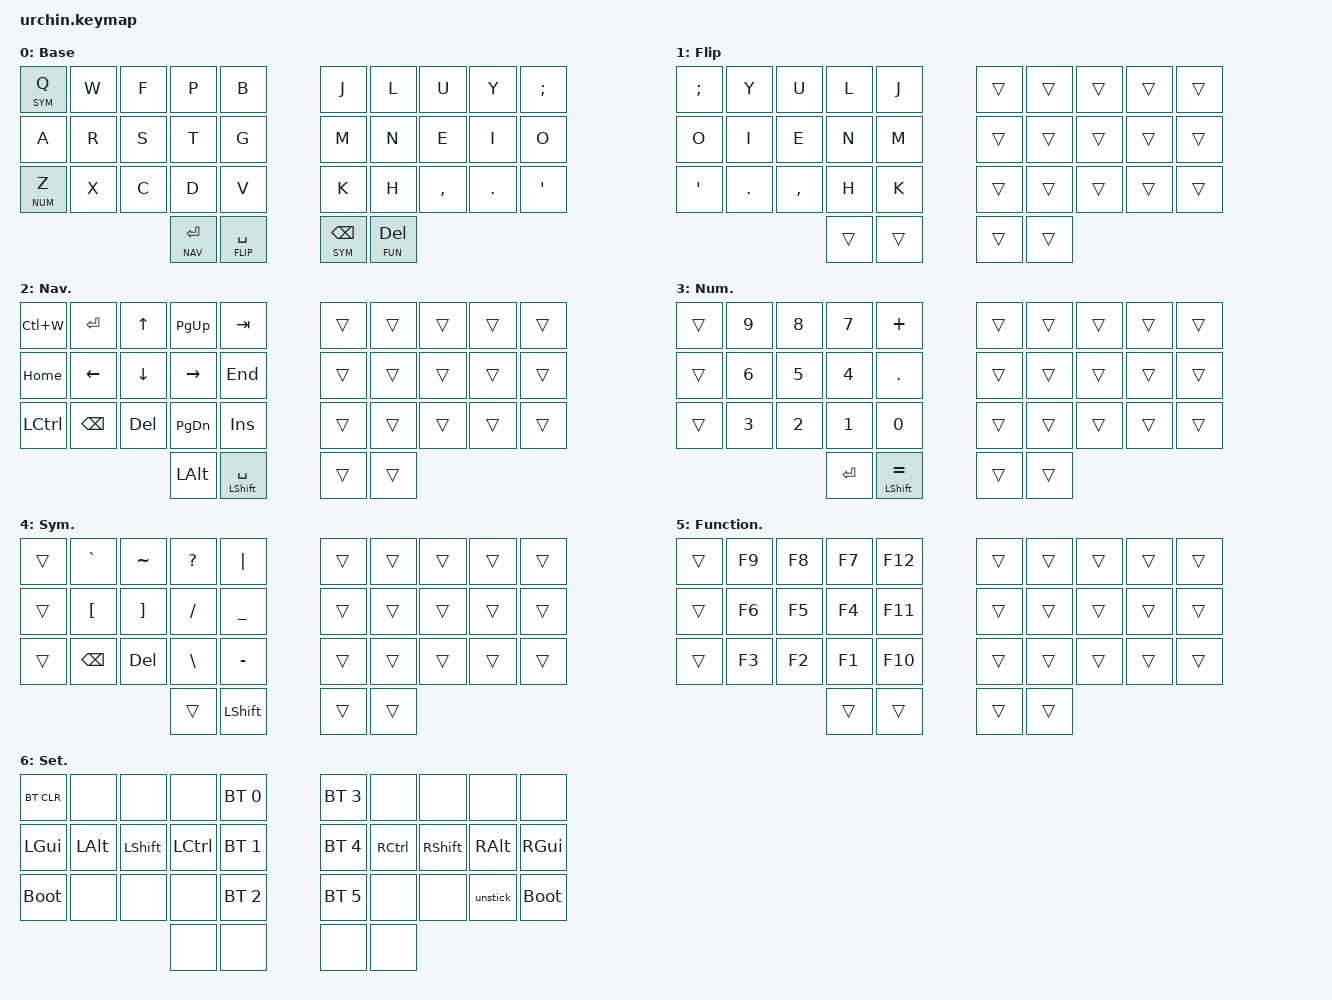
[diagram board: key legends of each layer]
/*
 * Copyright (c) 2020 duckyb
 *
 * SPDX-License-Identifier: MIT
 * 24-12-06 JHS 
 *     - Tab to space
 *     - updating to "Urchin Layout.xlsx"
 */

#include <behaviors.dtsi>
#include <dt-bindings/zmk/keys.h>
#include <dt-bindings/zmk/bt.h>
#include <dt-bindings/zmk/outputs.h>

// Layer definitions
#define BASE 0
#define FLIP 1
#define NAV 2
#define NUM 3
#define SYM 4 
#define FUN 5
#define SET 6
// -----------------

&sk {
    // don't release mods on other mods presses
    ignore-modifiers;
};


/ {
    behaviors {
        // Enables holding the first mod-tap key
        // by performing a tap-release-hold sequence.
        // To use it: "&qt KEYCODE1 KEYCODE2"
        qt: quick_tap {
            compatible = "zmk,behavior-hold-tap";
            label = "QUICK_TAP";
            #binding-cells = <2>;
            flavor = "hold-preferred";
            tapping-term-ms = <200>;
            quick-tap-ms = <200>;
            bindings = <&kp>, <&kp>;
        };
		
		// Balanced homerow mods example from zmk.dev
        bhm: balanced_homerow_mods {
            compatible = "zmk,behavior-hold-tap";
            #binding-cells = <2>;
            tapping-term-ms = <200>;    // <---[[moderate duration]]
            quick-tap-ms = <0>;
            flavor = "balanced";
            bindings = <&kp>, <&kp>;
        };
    };

    macros {
        // sometimes my device thinks a modifier is being held down
        // pressing all modifiers fixes it.
        unstick: unstick {
            label = "ZM_unstick";
            compatible = "zmk,behavior-macro";
            #binding-cells = <0>;
            bindings = <&kp LSHIFT &kp RSHIFT &kp LCTRL &kp RCTRL &kp LALT &kp RALT &kp LGUI &kp RGUI>;
        };
    };

    combos {
        compatible = "zmk,combos";
		// nav up-left-right
		combo_nav {
            timeout-ms = <100>;
            key-positions = <2 11 13>;
            bindings = <&tog NAV>;
        };	
		// function top row
		combo_fun {
            timeout-ms = <100>;
            key-positions = <1 3 12>;
            bindings = <&sl FUN>;
        };	
        // both right thumb keys
        combo_accent {
            timeout-ms = <100>;
            key-positions = <32 33>;
            bindings = <&mo SET>;
        };
        // both left thumb keys
        combo_settings {
            timeout-ms = <100>;
            key-positions = <30 31>;
            bindings = <&mo SET>;
        };	
		// escape
        combo_esc {
            timeout-ms = <100>;
            key-positions = <2 1>;
            bindings = <&kp ESC>;
        };
		// capsword
        combo_capsword {
            timeout-ms = <200>;
            key-positions = <12 17>;
            bindings = <&caps_word>;
        };
        combo_capsword2 {
            timeout-ms = <200>;
            key-positions = <11 12 14>;
            bindings = <&caps_word>;
        };
		// tab
        combo_tab {
            timeout-ms = <100>;
            key-positions = <2 3>;
            bindings = <&kp TAB>;
        };
		// backspace
        combo_bkp {
            timeout-ms = <100>;
            key-positions = <22 21>;
            bindings = <&kp BSPC>;
        };
        // TRIPLE combo mods
		// 1110 - CONTROL
		// 0111 - SHIFT
		// 1101 - ALT
		// 1111 - GUI
        combo_lctrl {
            timeout-ms = <100>;
            key-positions = <10 11 12>;
            bindings = <&sk LCTRL>;
        };
        combo_rctrl {
            timeout-ms = <100>;
            key-positions = <17 18 19>;
            bindings = <&sk RCTRL>;
        };
        combo_lshft {
            timeout-ms = <100>;
            key-positions = <11 12 13>;
            bindings = <&sk LSHFT>;
        };
        combo_rshft {
            timeout-ms = <100>;
            key-positions = <16 17 18>;
            bindings = <&sk RSHFT>;
        };
        combo_lalt {
            timeout-ms = <100>;
            key-positions = <10 11 13>;
            bindings = <&sk LALT>;
        };
        combo_ralt {
            timeout-ms = <100>;
            key-positions = <16 19 18>;
            bindings = <&sk RALT>;
        };
        combo_lgui {
            timeout-ms = <100>;
            key-positions = <22 23>;
            bindings = <&sk LGUI>;
        };
        combo_rgui {
            timeout-ms = <100>;
            key-positions = <29 28>;
            bindings = <&sk RGUI>;
        };
    };

    keymap {
        compatible = "zmk,keymap";
        // Base alpha layer
        default_layer {
            label = "Base";
            bindings = <
            &lt SYM Q  &kp W  &kp F  &kp P  &kp B      &kp J  &kp L  &kp U     &kp Y   &kp SEMI
            &kp A      &kp R  &kp S  &kp T  &kp G      &kp M  &kp N  &kp E     &kp I   &kp O   
            &lt NUM Z  &kp X  &kp C  &kp D  &kp V      &kp K  &kp H  &kp COMMA &kp DOT &kp SQT
               &lt NAV RET &lt FLIP SPACE              &lt SYM BSPC &lt FUN DEL       
			>;
        };
		
        // Flip for 1 handed
        flip_layer {
            label = "Flip";
            bindings = <
            &kp SEMI &kp Y    &kp U      &kp L  &kp J   &trans   &trans   &trans    &trans    &trans 
            &kp O    &kp I    &kp E      &kp N  &kp M   &trans   &trans   &trans    &trans    &trans 
            &kp SQT  &kp DOT  &kp COMMA  &kp H  &kp K   &trans   &trans   &trans    &trans    &trans 
                             &trans &trans              &trans   &trans   
            >;
        };
 
        // Navigation Layer
        nav_layer {
            label = "Nav.";
            bindings = <
            &kp LC(W) &kp RET  &kp UP   &kp PG_UP &kp TAB      &trans   &trans   &trans    &trans    &trans 
			&kp HOME  &kp LEFT &kp DOWN &kp RIGHT &kp END      &trans   &trans   &trans    &trans    &trans 
			&kp LCTRL &kp BSPC &kp DEL  &kp PG_DN &kp INS      &trans   &trans   &trans    &trans    &trans 
			                            &kp LALT  &qt LSHFT SPACE      &trans   &trans   
            >;
        };

        // Left Hand Numbers, Right hand modifiers
        num_layer {
            label = "Num.";
            bindings = <
            &trans   &kp N9 &kp N8 &kp N7 &kp PLUS       &trans   &trans   &trans    &trans    &trans 
            &trans   &kp N6 &kp N5 &kp N4 &kp DOT       &trans   &trans   &trans    &trans    &trans 
            &trans   &kp N3 &kp N2 &kp N1 &kp N0        &trans   &trans   &trans    &trans    &trans 
                                  &kp RET      &qt LSHFT EQUAL       &trans   &trans
            >;
        };

        // Symbol Layer (LH matches number shift symbols)
        sym_layer {
            label = "Sym.";
            bindings = <
            &trans  &kp GRAVE  &kp TILDE &kp QMARK  &kp PIPE      &trans   &trans   &trans    &trans    &trans 
			&trans  &kp LBKT   &kp RBKT  &kp FSLH   &kp UNDER     &trans   &trans   &trans    &trans    &trans 
			&trans  &kp BSPC  &kp DEL    &kp BSLH  &kp MINUS      &trans   &trans   &trans    &trans    &trans 
			                                     &trans  &kp LSHFT      &trans     &trans
            >;
        };

        // Left modifiers, Right hand function layer
        function_layer {
            label = "Function.";
            bindings = <
            &trans   &kp F9 &kp F8 &kp F7 &kp F12                &trans   &trans   &trans    &trans    &trans 
            &trans   &kp F6 &kp F5 &kp F4 &kp F11       &trans   &trans   &trans    &trans    &trans 
            &trans   &kp F3 &kp F2 &kp F1 &kp F10       &trans   &trans   &trans    &trans    &trans 
                                        &trans &trans        &trans   &trans
            >;
        };

        // Used to change the keyboard's settings.
        set_layer {
                label = "Set.";
                bindings = <
                &bt BT_CLR  &none    &none     &none     &bt BT_SEL 0     &bt BT_SEL 3 &none     &none     &none       &none 
                &kp LGUI    &kp LALT &kp LSHFT &kp LCTRL &bt BT_SEL 1     &bt BT_SEL 4 &kp RCTRL &kp RSHFT &kp RALT    &kp RGUI
                &bootloader &none    &none     &none     &bt BT_SEL 2     &bt BT_SEL 5 &none     &none     &unstick    &bootloader
                                               &none     &none            &none        &none 
                >;
        };
    };
};
